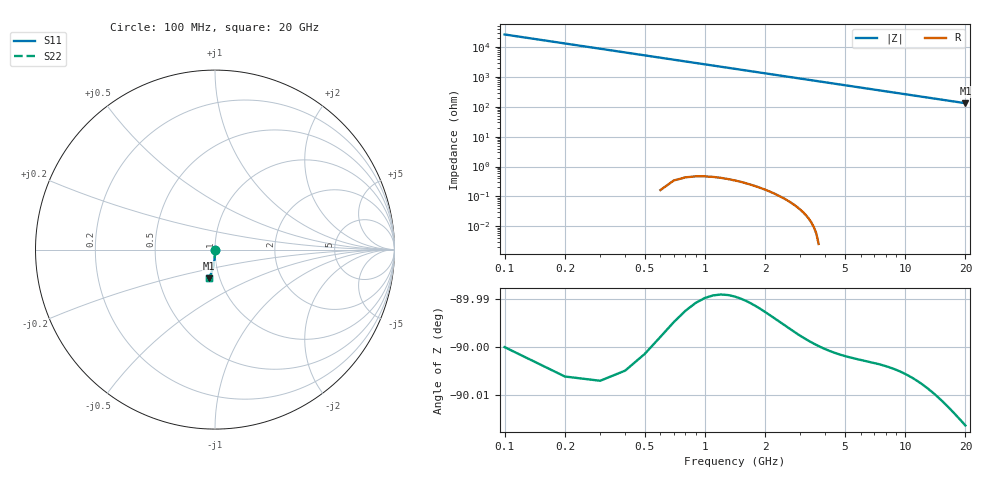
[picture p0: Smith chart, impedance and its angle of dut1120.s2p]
! Touchstone file exported from HFSS 2026.1.0
!  File:  C:/ffzhzh/LocalFiles/Ansys_Project_Files/temp_train_TSV_1120_1783190922_22436.aedt
!  Generated:  02:49:56 AM Jul  5, 2026
!  Design:  TSV
!  Project:  temp_train_TSV_1120_1783190922_22436
! Variables:
!  h_bsmrdl = 2um
!  h_ox = 20um
!  h_rdl = 5um
!  h_sub = 84.04um
!  h_tmrdl = 5um
!  h_tsv = 84.04um
!  h_via = 3um
!  l_bsmrdl = 300um
!  l_sub = 420.24um
!  l_tmrdl = 200um
!  m_sub = 200um
!  pitch = 22.36um
!  r_tsv = 10.12um
!  s_tmrdl = 10um
!  w_bsmrdl = 18um
!  w_sub = 500um
!  w_tmrdl = 12um
!  x_tsv_center1 = 206um
!  x_tsv_center2 = 524um
!  x_tsv_center3 = 736um
!  x_tsv_center4 = 1054um
!  x_tsv_center5 = 1266um
!  x_tsv_center6 = 1584um
# GHz S MA R 50.000000
! Terminal data exported
! Port[1] = TSV1_1_T1
! Port[2] = TSV1_1_T2
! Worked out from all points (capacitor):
!   200 points, 100 MHz to 20 GHz, reference 50 ohm
!   read as one part in shunt: C = 60.5 fF near 200 MHz
!   lowest |Z| = 132 ohm at 20 GHz (marker M1)
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0.1  0.0007615 -78.1  0.9998 -0.1  0.9998 -0.1  0.0007615 -78.1
! Gamma 0 0 0 0
! Port Impedance 50 0 50 0
0.2  0.001511 -83.0  0.9998 -0.1  0.9998 -0.1  0.001511 -83.0
0.3  0.00228 -84.4  0.9998 -0.2  0.9998 -0.2  0.00228 -84.4
0.4  0.003065 -85.1  0.9997 -0.3  0.9997 -0.3  0.003065 -85.1
0.5  0.003864 -85.5  0.9997 -0.3  0.9997 -0.3  0.003864 -85.5
0.7  0.005487 -86.2  0.9996 -0.4  0.9996 -0.4  0.005487 -86.2
0.8  0.006305 -86.5  0.9995 -0.5  0.9995 -0.5  0.006305 -86.5
1  0.007948 -87.1  0.9995 -0.6  0.9995 -0.6  0.007948 -87.1
1.2  0.009593 -87.6  0.9994 -0.8  0.9994 -0.8  0.009593 -87.6
1.4  0.01124 -88.0  0.9994 -0.9  0.9994 -0.9  0.01124 -88.0
1.7  0.0137 -88.5  0.9993 -1.1  0.9993 -1.1  0.0137 -88.5
2  0.01617 -88.9  0.9992 -1.3  0.9992 -1.3  0.01617 -88.9
2.7  0.02192 -89.7  0.999 -1.7  0.999 -1.7  0.02192 -89.7
3.5  0.02851 -90.5  0.9987 -2.2  0.9987 -2.2  0.02851 -90.5
4.2  0.03427 -91.0  0.9985 -2.6  0.9985 -2.6  0.03427 -91.0
5  0.04088 -91.6  0.9981 -3.1  0.9981 -3.1  0.04088 -91.6
6.8  0.05575 -92.9  0.9972 -4.2  0.9972 -4.2  0.05575 -92.9
8.3  0.06813 -93.9  0.9963 -5.1  0.9963 -5.1  0.06813 -93.9
10.1  0.08294 -95.1  0.995 -6.2  0.995 -6.2  0.08294 -95.1
13.4  0.1099 -97.3  0.9921 -8.2  0.9921 -8.2  0.1099 -97.3
16.7  0.1367 -99.4  0.9886 -10.2  0.9886 -10.2  0.1367 -99.4
20  0.1631 -101.4  0.9843 -12.2  0.9843 -12.2  0.1631 -101.4
